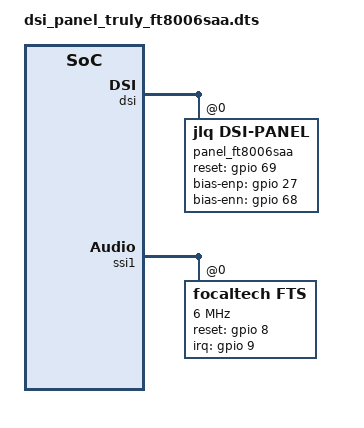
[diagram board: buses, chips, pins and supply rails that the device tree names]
// SPDX-License-Identifier: GPL-2.0+
/dts-v1/;
/plugin/;
#include <dt-bindings/pinctrl/jlq_pinctrl.h>
/ {
	jlq,panel-id   = <3 0>;
};

&dsi {
	panel_ft8006saa: ft8006saa {
		compatible = "jlq,dsi-panel";
		reg = <0>;
		panel_name = "xiaomi C3QP 43 03 0b hd+ longh video dsi panel";
		status = "okay";
		inited = "true";

		pinctrl-names = "panel_active", "panel_suspend";
		pinctrl-0 = <&lcd_reset_active
			&lcd_bias_enp_active
			&lcd_bias_enn_active>;
		pinctrl-1 = <&lcd_reset_suspend
			&lcd_bias_enp_suspend
			&lcd_bias_enn_suspend>;

		reset-gpio = <&gpio 69 0>;
		reset-sequence = <1 10 0 20 1 10>;
		reset-gpio-keep-high;
		bias-enp-gpio = <&gpio 27 0>;
		bias-enn-gpio = <&gpio 68 0>;

		dsi,lanes = <4>;
		dsi,channel = <0>;
		dsi,flags = <0x24400803>;
		dsi,format = <0>;

		init-delay-ms = <35>;
		prepare-delay-ms = <0>;
		enable-delay-ms = <2>;
		unprepare-delay-ms = <0>;
		disable-delay-ms = <2>;
		reset-delay-ms = <10>;
		width-mm = <68>;
		height-mm = <156>;
		backlight-type = <1>;
		backlight-max-level = <2047>;
		ic-vendor = <2>;
                esd-check-mode = "reg_read";
                esd-check-period = <6000>;

		panel-exit-sequence = [
			05 05 01 28
			05 96 01 10
			29 00 02 17 5a
			29 40 02 18 5a
		];

		panel-init-sequence = [
			29 00 03 41 5A 19
			29 00 05 A0 00 00 46 00
			29 00 03 41 5A 24
			29 00 02 8D 5A
			29 00 03 41 5A 2F
			29 00 02 4C 03
			29 00 02 51 00
			29 00 02 53 2c
			29 00 02 55 00
			05 64 01 11
			05 0a 01 29
		];

                esd-entries {
                       #address-cells = <1>;
                       #size-cells = <0>;

                       esd-entry@0 {
                               reg = <0>;
                               return-packet-size = <1>;
                               valid-value-array = /bits/ 8 <0x9c>;
                               read-sequence = [
                                       06 01 01 0a
                               ];
                       };
               };


		display-timings {
			native-mode = <&ft8006saa_timing>;
			ft8006saa_timing: timing0 {
				clock-frequency = <90000000>;
				hactive = <720>;
				vactive = <1650>;
				hfront-porch = <68>;
				hsync-len = <16>;
				hback-porch = <38>;
				vfront-porch = <75>;
				vsync-len = <10>;
				vback-porch = <45>;
				hsync-active = <1>;
				vsync-active = <1>;
			};
		};
	};
};


&ssi1 {
	focaltech@0 {
		compatible = "focaltech,fts";
		reg = <0x0>;
		status = "okay";
		panel = <&panel_ft8006saa>;
		spi-max-frequency = <6000000>;
		interrupt-parent = <&gpio>;
		interrupts = <9 2>;
		focaltech,reset-gpio = <&gpio 8 0>;
		focaltech,irq-gpio = <&gpio 9 0>;
		focaltech,longv-mode = <0x0>;
		focaltech,max-touch-number = <10>;
		focaltech,display-coords =  <0 0 720 1650>;
	};
};
